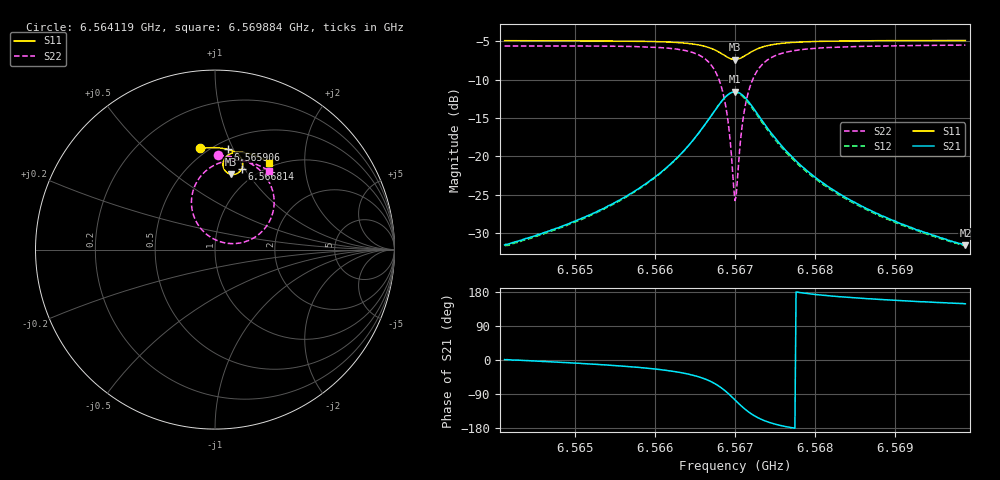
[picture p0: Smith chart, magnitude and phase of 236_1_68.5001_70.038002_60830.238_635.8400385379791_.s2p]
#  HZ  S  RI  R  50.00
! Rohde & Schwarz Vector Network Analyzer
! Rohde-Schwarz,ZNB20-2Port,1311601062101988,3.16
! Created: UTC 3/20/2024, 4:59:08 PM
! freq[Hz]  re:S11  im:S11  re:S21  im:S21  re:S12  im:S12  re:S22  im:S22
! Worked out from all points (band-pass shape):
!   401 points, 6.564119 GHz to 6.569884 GHz, reference 50 ohm
!   highest |S21| = -11.56 dB at 6.567001 GHz (marker M1); lowest = -31.6 dB at 6.569884 GHz (marker M2)
!   |S21| within 3 dB of the highest: 6.566712 GHz to 6.56729 GHz (577.3 kHz wide, 0.00879 % of centre)
!   lowest |S11| = -7.4 dB at 6.567001 GHz (marker M3), VSWR 2.50, Z = 40.4 + j41.6 ohm
!   |S11| at or under -10 dB: nowhere
!   |S22| runs from -25.8 to -5.5 dB; largest |S21 - S12| = 0.012
!   S11 on the Smith chart (normalised r, x): 6.564119 GHz: 0.46, +0.76; 6.565906 GHz: 0.58, +0.95; 6.566814 GHz: 0.84, +0.97; 6.569884 GHz: 0.93, +1.34
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6.5641187e9  -0.0809 0.5633  0.0264 0.000482  0.026 7.17e-06  0.0178 0.525
6.5650844e9  -0.00276 0.568  0.0389 -0.00636  0.0382 -0.00686  0.1066 0.5143
6.565906e9  0.0716 0.5583  0.0627 -0.025  0.0617 -0.0256  0.2063 0.4751
6.5660502e9  0.0863 0.5538  0.0697 -0.0324  0.0686 -0.0332  0.229 0.46
6.5663529e9  0.1197 0.537  0.0887 -0.0608  0.0874 -0.0621  0.2845 0.4038
6.5665691e9  0.1444 0.5111  0.1023 -0.1054  0.1002 -0.1075  0.3238 0.3174
6.5667132e9  0.1546 0.4803  0.0985 -0.1592  0.0946 -0.1622  0.3242 0.2147
6.5668141e9  0.1493 0.451  0.072 -0.2098  0.0655 -0.2126  0.2789 0.1197
6.5669006e9  0.1287 0.4271  0.0198 -0.2487  0.0102 -0.2493  0.1839 0.0493
6.5669294e9  0.1181 0.4219  -0.00392 -0.2564  -0.0144 -0.2556  0.1407 0.037
6.5669871e9  0.0938 0.4187  -0.057 -0.2577  -0.0678 -0.2532  0.0465 0.0392
6.5670015e9  0.0875 0.4197  -0.0703 -0.2546  -0.0809 -0.2493  0.0235 0.0458
6.5670303e9  0.0757 0.4238  -0.0956 -0.2448  -0.1053 -0.2376  -0.0197 0.0661
6.567088e9  0.0565 0.4389  -0.1369 -0.2128  -0.1436 -0.2031  -0.0868 0.1272
6.5671312e9  0.0481 0.4538  -0.1566 -0.183  -0.1609 -0.1726  -0.1163 0.1818
6.5671889e9  0.0443 0.4738  -0.1691 -0.143  -0.1705 -0.1332  -0.131 0.2529
6.5672609e9  0.0484 0.4957  -0.1688 -0.1004  -0.1677 -0.092  -0.1223 0.3268
6.5675204e9  0.0873 0.5345  -0.1267 -0.0219  -0.1238 -0.0183  -0.0263 0.4571
6.5679672e9  0.1457 0.5425  -0.0753 0.00803  -0.0735 0.00915  0.0942 0.4969
6.5683996e9  0.1884 0.5347  -0.0517 0.0133  -0.0506 0.0139  0.1632 0.4931
6.5689329e9  0.2328 0.5196  -0.0363 0.0144  -0.0356 0.0147  0.2235 0.4769
6.5698842e9  0.3019 0.4847  -0.0223 0.0138  -0.0219 0.0138  0.3032 0.4381
